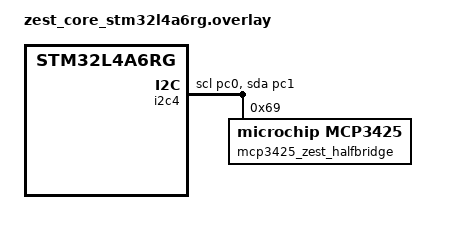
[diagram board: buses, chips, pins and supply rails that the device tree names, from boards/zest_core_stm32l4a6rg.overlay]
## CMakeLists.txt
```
# Copyright (c) CATIE 2023
# SPDX-License-Identifier: Apache-2.0

zephyr_library()

add_subdirectory(drivers)
```

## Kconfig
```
# Copyright (c) CATIE 2023
# SPDX-License-Identifier: Apache-2.0

rsource "drivers/Kconfig"
```

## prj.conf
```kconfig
CONFIG_WARN_EXPERIMENTAL=y

CONFIG_STDOUT_CONSOLE=y
CONFIG_CBPRINTF_FP_SUPPORT=y

CONFIG_LOG=y
CONFIG_LOG_MODE_IMMEDIATE=y
CONFIG_LOG_DEFAULT_LEVEL=4

CONFIG_GPIO=y
CONFIG_CPP=y
CONFIG_FPU=y
CONFIG_I2C=y

CONFIG_SENSOR=y
CONFIG_MCP3425=y
```

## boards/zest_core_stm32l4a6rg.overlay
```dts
/*
 * Copyright (c) CATIE 2023
 * SPDX-License-Identifier: Apache-2.0
 *
 * Overlay pour la zest core L4A6 couplé à une zest halfbridge.
 */

&i2c4 {
    status = "okay";
    pinctrl-0 = <&i2c4_scl_pc0 &i2c4_sda_pc1>;
    pinctrl-names = "default";

    mcp3425_zest_halfbridge: mcp3425@69 {
        compatible = "microchip,mcp3425";
        reg = <0x69>;
        resolution = <16>; // not required, default is 14
        pga_gain = <1>; // not required, default is 1 (no pga gain, full resolution at Vref)
        //one_shot_mode;
    };
};

/// {
//    aliases {
//        mcp3425_zest_halfbridge = &mcp3425;
//    };
//};
```

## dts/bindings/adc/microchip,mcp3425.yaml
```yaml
# Copyright (c) CATIE 2023
# SPDX-License-Identifier: Apache-2.0

description: |
  Microchip MCP3425 I2C 16 bits single channel ADC. See
  https://www.microchip.com/wwwproducts/en/MCP3425.

compatible: "microchip,mcp3425"

include: [ sensor-device.yaml, i2c-device.yaml ]

properties:
  resolution:
    required: false
    type: int
    default: 14
    description: Set the ADC resolution in bits. Correct values are 12, 14 (default) or 16.
    enum:
      - 12
      - 14
      - 16
  pga_gain:
    required: false
    type: int
    default: 1
    description: Set the PGA Gain before the analog conversion. This is useful to convert a smaller input signal with high resolution. Correct values are 1 (default), 2, 4 or 8.
    enum:
      - 1
      - 2
      - 4
      - 8
  one_shot_mode:
    required: false
    type: boolean
    description: By default, ADC scan input continuously. If one shot is defined in device overlay, scan input enter one shot mode, i.e. scan only when asked (energy saving).
```

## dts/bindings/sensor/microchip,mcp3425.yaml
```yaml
# Copyright (c) CATIE 2023
# SPDX-License-Identifier: Apache-2.0

description: |
  Microchip MCP3425 I2C 16 bits single channel ADC. See
  https://www.microchip.com/wwwproducts/en/MCP3425.

compatible: "microchip,mcp3425"

include: [ sensor-device.yaml, i2c-device.yaml ]

properties:
  resolution:
    required: false
    type: int
    default: 14
    description: Set the ADC resolution in bits. Correct values are 12, 14 (default) or 16.
    enum:
      - 12
      - 14
      - 16
  pga_gain:
    required: false
    type: int
    default: 1
    description: Set the PGA Gain before the analog conversion. This is useful to convert a smaller input signal with high resolution. Correct values are 1 (default), 2, 4 or 8.
    enum:
      - 1
      - 2
      - 4
      - 8
```

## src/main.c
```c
/*
 * Copyright (c) 2016 Intel Corporation
 *
 * SPDX-License-Identifier: Apache-2.0
 */

#include <zephyr/drivers/gpio.h>
#include <zephyr/drivers/sensor.h>
#include <zephyr/kernel.h>
#include <zephyr/logging/log.h>

/* 1000 msec = 1 sec */
#define SLEEP_TIME_MS 2000

/* The devicetree node identifier for the "led0" alias. */
#define LED0_NODE DT_ALIAS(led0)

/* The devicetree node identifier for the "mcp3425_zest_halfbridge" label */
#define MCP3425_NODE DT_NODELABEL(mcp3425_zest_halfbridge)

LOG_MODULE_REGISTER(Main);

/*
 * A build error on this line means your board is unsupported.
 * See the sample documentation for information on how to fix this.
 */
static const struct gpio_dt_spec led = GPIO_DT_SPEC_GET(LED0_NODE, gpios);
static const struct device *mcp3425_sensor = DEVICE_DT_GET(MCP3425_NODE);

int main(void) {
    int ret;
    struct sensor_value mcp3425_value;

    // GPIO led
    if (!gpio_is_ready_dt(&led)) {
        return 0;
    }
    ret = gpio_pin_configure_dt(&led, GPIO_OUTPUT_ACTIVE);
    if (ret < 0) {
        return 0;
    }

    // MCP3425 ADC sensor
    if (mcp3425_sensor == NULL) {
        printf("Device MCP3425 not found.\n");
        return 0;
    }

    if (!device_is_ready(mcp3425_sensor)) {
        printf("Device %s is not ready.\n", mcp3425_sensor->name);
        return 0;
    }

    LOG_DBG("test log dbg"); // level 4 + zephyr kernel dbg
    LOG_INF("test log info"); // level 3
    LOG_WRN("test log warning"); // level 2
    LOG_ERR("test log error"); // level 1

    while (1) {

        // toggle GPIO
        ret = gpio_pin_toggle_dt(&led);
        if (ret < 0) {
            return 0;
        }

        // fetch and get MCP3425 ADC value
        ret = sensor_sample_fetch(mcp3425_sensor);
        if (ret != 0) {
            printf("sensor_sample_fetch error: %d\n", ret);
            break;
        }

        ret = sensor_channel_get(mcp3425_sensor, SENSOR_CHAN_VOLTAGE, &mcp3425_value);
        if (ret != 0) {
            printf("sensor_channel_get error: %d\n", ret);
            break;
        }

        //        LOG_INF("ADC value: %2.3fV", sensor_value_to_float(&mcp3425_value));
        LOG_INF("ADC value: %d.%dV", (&mcp3425_value)->val1, (&mcp3425_value)->val2);

        k_sleep(K_SECONDS(5));
    }
    return 0;
}
```
